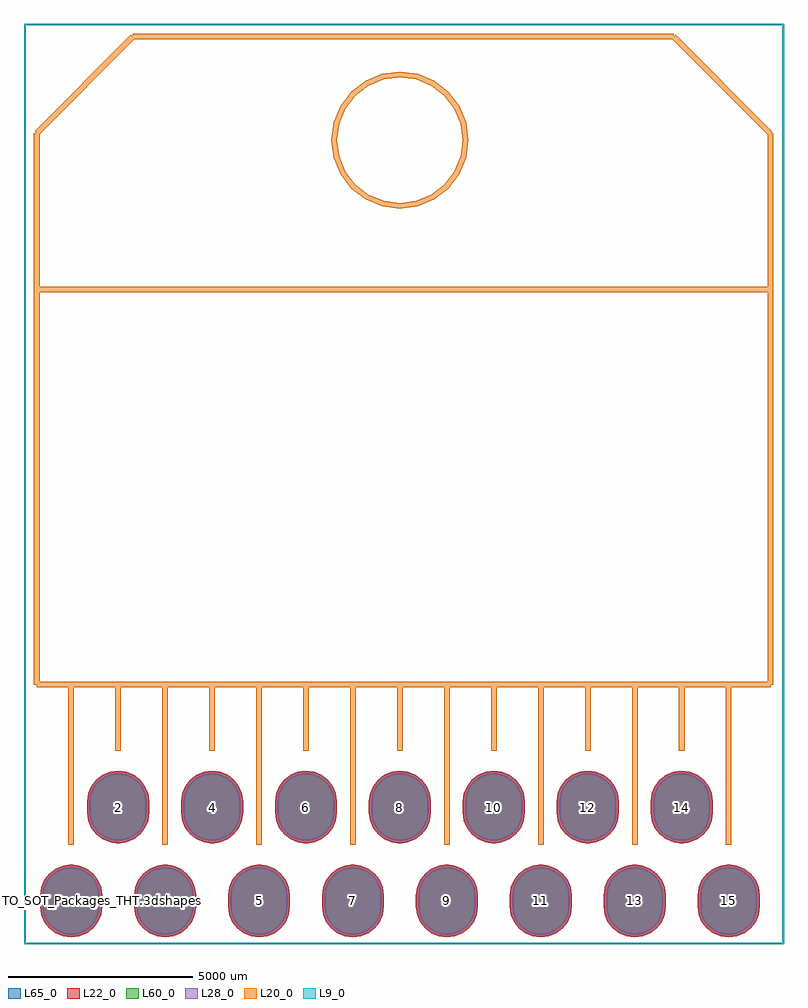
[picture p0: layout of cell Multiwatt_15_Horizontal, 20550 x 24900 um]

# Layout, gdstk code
import gdstk
lib = gdstk.Library(unit=1e-6, precision=1e-09)
def P(c, l, *ps):  # polygons
    for p in ps: c.add(gdstk.Polygon(p, *l))
L9_0 = (9, 0)
L20_0 = (20, 0)
L22_0 = (22, 0)
L28_0 = (28, 0)
L60_0 = (60, 0)
L65_0 = (65, 0)

multiwatt_15_horizontal = lib.new_cell('Multiwatt_15_Horizontal')
P(multiwatt_15_horizontal, L22_0, [(17780,-987),(17996.632,-958.48),(18198.5,-874.863),(18371.848,-741.848),(18504.863,-568.5),(18588.48,-366.632),(18617,-150),(18617,150),(18588.48,366.632),(18504.863,568.5),(18371.848,741.848),(18198.5,874.863),(17996.632,958.48),(17780,987),(17563.368,958.48),(17361.5,874.863),(17188.152,741.848),(17055.137,568.5),(16971.52,366.632),(16943,150),(16943,-150),(16971.52,-366.632),(17055.137,-568.5),(17188.152,-741.848),(17361.5,-874.863),(17563.368,-958.48)],
  [(16510,1553),(16726.632,1581.52),(16928.5,1665.137),(17101.848,1798.152),(17234.863,1971.5),(17318.48,2173.368),(17347,2390),(17347,2690),(17318.48,2906.632),(17234.863,3108.5),(17101.848,3281.848),(16928.5,3414.863),(16726.632,3498.48),(16510,3527),(16293.368,3498.48),(16091.5,3414.863),(15918.152,3281.848),(15785.137,3108.5),(15701.52,2906.632),(15673,2690),(15673,2390),(15701.52,2173.368),(15785.137,1971.5),(15918.152,1798.152),(16091.5,1665.137),(16293.368,1581.52)],
  [(15240,-987),(15456.632,-958.48),(15658.5,-874.863),(15831.848,-741.848),(15964.863,-568.5),(16048.48,-366.632),(16077,-150),(16077,150),(16048.48,366.632),(15964.863,568.5),(15831.848,741.848),(15658.5,874.863),(15456.632,958.48),(15240,987),(15023.368,958.48),(14821.5,874.863),(14648.152,741.848),(14515.137,568.5),(14431.52,366.632),(14403,150),(14403,-150),(14431.52,-366.632),(14515.137,-568.5),(14648.152,-741.848),(14821.5,-874.863),(15023.368,-958.48)],
  [(13970,1553),(14186.632,1581.52),(14388.5,1665.137),(14561.848,1798.152),(14694.863,1971.5),(14778.48,2173.368),(14807,2390),(14807,2690),(14778.48,2906.632),(14694.863,3108.5),(14561.848,3281.848),(14388.5,3414.863),(14186.632,3498.48),(13970,3527),(13753.368,3498.48),(13551.5,3414.863),(13378.152,3281.848),(13245.137,3108.5),(13161.52,2906.632),(13133,2690),(13133,2390),(13161.52,2173.368),(13245.137,1971.5),(13378.152,1798.152),(13551.5,1665.137),(13753.368,1581.52)],
  [(12700,-987),(12916.632,-958.48),(13118.5,-874.863),(13291.848,-741.848),(13424.863,-568.5),(13508.48,-366.632),(13537,-150),(13537,150),(13508.48,366.632),(13424.863,568.5),(13291.848,741.848),(13118.5,874.863),(12916.632,958.48),(12700,987),(12483.368,958.48),(12281.5,874.863),(12108.152,741.848),(11975.137,568.5),(11891.52,366.632),(11863,150),(11863,-150),(11891.52,-366.632),(11975.137,-568.5),(12108.152,-741.848),(12281.5,-874.863),(12483.368,-958.48)],
  [(11430,1553),(11646.632,1581.52),(11848.5,1665.137),(12021.848,1798.152),(12154.863,1971.5),(12238.48,2173.368),(12267,2390),(12267,2690),(12238.48,2906.632),(12154.863,3108.5),(12021.848,3281.848),(11848.5,3414.863),(11646.632,3498.48),(11430,3527),(11213.368,3498.48),(11011.5,3414.863),(10838.152,3281.848),(10705.137,3108.5),(10621.52,2906.632),(10593,2690),(10593,2390),(10621.52,2173.368),(10705.137,1971.5),(10838.152,1798.152),(11011.5,1665.137),(11213.368,1581.52)],
  [(10160,-987),(10376.632,-958.48),(10578.5,-874.863),(10751.848,-741.848),(10884.863,-568.5),(10968.48,-366.632),(10997,-150),(10997,150),(10968.48,366.632),(10884.863,568.5),(10751.848,741.848),(10578.5,874.863),(10376.632,958.48),(10160,987),(9943.368,958.48),(9741.5,874.863),(9568.152,741.848),(9435.137,568.5),(9351.52,366.632),(9323,150),(9323,-150),(9351.52,-366.632),(9435.137,-568.5),(9568.152,-741.848),(9741.5,-874.863),(9943.368,-958.48)],
  [(8890,1553),(9106.632,1581.52),(9308.5,1665.137),(9481.848,1798.152),(9614.863,1971.5),(9698.48,2173.368),(9727,2390),(9727,2690),(9698.48,2906.632),(9614.863,3108.5),(9481.848,3281.848),(9308.5,3414.863),(9106.632,3498.48),(8890,3527),(8673.368,3498.48),(8471.5,3414.863),(8298.152,3281.848),(8165.137,3108.5),(8081.52,2906.632),(8053,2690),(8053,2390),(8081.52,2173.368),(8165.137,1971.5),(8298.152,1798.152),(8471.5,1665.137),(8673.368,1581.52)],
  [(7620,-987),(7836.632,-958.48),(8038.5,-874.863),(8211.848,-741.848),(8344.863,-568.5),(8428.48,-366.632),(8457,-150),(8457,150),(8428.48,366.632),(8344.863,568.5),(8211.848,741.848),(8038.5,874.863),(7836.632,958.48),(7620,987),(7403.368,958.48),(7201.5,874.863),(7028.152,741.848),(6895.137,568.5),(6811.52,366.632),(6783,150),(6783,-150),(6811.52,-366.632),(6895.137,-568.5),(7028.152,-741.848),(7201.5,-874.863),(7403.368,-958.48)],
  [(6350,1553),(6566.632,1581.52),(6768.5,1665.137),(6941.848,1798.152),(7074.863,1971.5),(7158.48,2173.368),(7187,2390),(7187,2690),(7158.48,2906.632),(7074.863,3108.5),(6941.848,3281.848),(6768.5,3414.863),(6566.632,3498.48),(6350,3527),(6133.368,3498.48),(5931.5,3414.863),(5758.152,3281.848),(5625.137,3108.5),(5541.52,2906.632),(5513,2690),(5513,2390),(5541.52,2173.368),(5625.137,1971.5),(5758.152,1798.152),(5931.5,1665.137),(6133.368,1581.52)],
  [(5080,-987),(5296.632,-958.48),(5498.5,-874.863),(5671.848,-741.848),(5804.863,-568.5),(5888.48,-366.632),(5917,-150),(5917,150),(5888.48,366.632),(5804.863,568.5),(5671.848,741.848),(5498.5,874.863),(5296.632,958.48),(5080,987),(4863.368,958.48),(4661.5,874.863),(4488.152,741.848),(4355.137,568.5),(4271.52,366.632),(4243,150),(4243,-150),(4271.52,-366.632),(4355.137,-568.5),(4488.152,-741.848),(4661.5,-874.863),(4863.368,-958.48)],
  [(3810,1553),(4026.632,1581.52),(4228.5,1665.137),(4401.848,1798.152),(4534.863,1971.5),(4618.48,2173.368),(4647,2390),(4647,2690),(4618.48,2906.632),(4534.863,3108.5),(4401.848,3281.848),(4228.5,3414.863),(4026.632,3498.48),(3810,3527),(3593.368,3498.48),(3391.5,3414.863),(3218.152,3281.848),(3085.137,3108.5),(3001.52,2906.632),(2973,2690),(2973,2390),(3001.52,2173.368),(3085.137,1971.5),(3218.152,1798.152),(3391.5,1665.137),(3593.368,1581.52)],
  [(2540,-987),(2756.632,-958.48),(2958.5,-874.863),(3131.848,-741.848),(3264.863,-568.5),(3348.48,-366.632),(3377,-150),(3377,150),(3348.48,366.632),(3264.863,568.5),(3131.848,741.848),(2958.5,874.863),(2756.632,958.48),(2540,987),(2323.368,958.48),(2121.5,874.863),(1948.152,741.848),(1815.137,568.5),(1731.52,366.632),(1703,150),(1703,-150),(1731.52,-366.632),(1815.137,-568.5),(1948.152,-741.848),(2121.5,-874.863),(2323.368,-958.48)],
  [(1270,1553),(1486.632,1581.52),(1688.5,1665.137),(1861.848,1798.152),(1994.863,1971.5),(2078.48,2173.368),(2107,2390),(2107,2690),(2078.48,2906.632),(1994.863,3108.5),(1861.848,3281.848),(1688.5,3414.863),(1486.632,3498.48),(1270,3527),(1053.368,3498.48),(851.5,3414.863),(678.152,3281.848),(545.137,3108.5),(461.52,2906.632),(433,2690),(433,2390),(461.52,2173.368),(545.137,1971.5),(678.152,1798.152),(851.5,1665.137),(1053.368,1581.52)],
  [(0,-987),(216.632,-958.48),(418.5,-874.863),(591.848,-741.848),(724.863,-568.5),(808.48,-366.632),(837,-150),(837,150),(808.48,366.632),(724.863,568.5),(591.848,741.848),(418.5,874.863),(216.632,958.48),(0,987),(-216.632,958.48),(-418.5,874.863),(-591.848,741.848),(-724.863,568.5),(-808.48,366.632),(-837,150),(-837,-150),(-808.48,-366.632),(-724.863,-568.5),(-591.848,-741.848),(-418.5,-874.863),(-216.632,-958.48)])
P(multiwatt_15_horizontal, L28_0, [(17780,-912),(17977.22,-886.035),(18161,-809.911),(18318.815,-688.815),(18439.911,-531),(18516.035,-347.22),(18542,-150),(18542,150),(18516.035,347.22),(18439.911,531),(18318.815,688.815),(18161,809.911),(17977.22,886.035),(17780,912),(17582.78,886.035),(17399,809.911),(17241.185,688.815),(17120.089,531),(17043.965,347.22),(17018,150),(17018,-150),(17043.965,-347.22),(17120.089,-531),(17241.185,-688.815),(17399,-809.911),(17582.78,-886.035)],
  [(16510,1628),(16707.22,1653.965),(16891,1730.089),(17048.815,1851.185),(17169.911,2009),(17246.035,2192.78),(17272,2390),(17272,2690),(17246.035,2887.22),(17169.911,3071),(17048.815,3228.815),(16891,3349.911),(16707.22,3426.035),(16510,3452),(16312.78,3426.035),(16129,3349.911),(15971.185,3228.815),(15850.089,3071),(15773.965,2887.22),(15748,2690),(15748,2390),(15773.965,2192.78),(15850.089,2009),(15971.185,1851.185),(16129,1730.089),(16312.78,1653.965)],
  [(15240,-912),(15437.22,-886.035),(15621,-809.911),(15778.815,-688.815),(15899.911,-531),(15976.035,-347.22),(16002,-150),(16002,150),(15976.035,347.22),(15899.911,531),(15778.815,688.815),(15621,809.911),(15437.22,886.035),(15240,912),(15042.78,886.035),(14859,809.911),(14701.185,688.815),(14580.089,531),(14503.965,347.22),(14478,150),(14478,-150),(14503.965,-347.22),(14580.089,-531),(14701.185,-688.815),(14859,-809.911),(15042.78,-886.035)],
  [(13970,1628),(14167.22,1653.965),(14351,1730.089),(14508.815,1851.185),(14629.911,2009),(14706.035,2192.78),(14732,2390),(14732,2690),(14706.035,2887.22),(14629.911,3071),(14508.815,3228.815),(14351,3349.911),(14167.22,3426.035),(13970,3452),(13772.78,3426.035),(13589,3349.911),(13431.185,3228.815),(13310.089,3071),(13233.965,2887.22),(13208,2690),(13208,2390),(13233.965,2192.78),(13310.089,2009),(13431.185,1851.185),(13589,1730.089),(13772.78,1653.965)],
  [(12700,-912),(12897.22,-886.035),(13081,-809.911),(13238.815,-688.815),(13359.911,-531),(13436.035,-347.22),(13462,-150),(13462,150),(13436.035,347.22),(13359.911,531),(13238.815,688.815),(13081,809.911),(12897.22,886.035),(12700,912),(12502.78,886.035),(12319,809.911),(12161.185,688.815),(12040.089,531),(11963.965,347.22),(11938,150),(11938,-150),(11963.965,-347.22),(12040.089,-531),(12161.185,-688.815),(12319,-809.911),(12502.78,-886.035)],
  [(11430,1628),(11627.22,1653.965),(11811,1730.089),(11968.815,1851.185),(12089.911,2009),(12166.035,2192.78),(12192,2390),(12192,2690),(12166.035,2887.22),(12089.911,3071),(11968.815,3228.815),(11811,3349.911),(11627.22,3426.035),(11430,3452),(11232.78,3426.035),(11049,3349.911),(10891.185,3228.815),(10770.089,3071),(10693.965,2887.22),(10668,2690),(10668,2390),(10693.965,2192.78),(10770.089,2009),(10891.185,1851.185),(11049,1730.089),(11232.78,1653.965)],
  [(10160,-912),(10357.22,-886.035),(10541,-809.911),(10698.815,-688.815),(10819.911,-531),(10896.035,-347.22),(10922,-150),(10922,150),(10896.035,347.22),(10819.911,531),(10698.815,688.815),(10541,809.911),(10357.22,886.035),(10160,912),(9962.78,886.035),(9779,809.911),(9621.185,688.815),(9500.089,531),(9423.965,347.22),(9398,150),(9398,-150),(9423.965,-347.22),(9500.089,-531),(9621.185,-688.815),(9779,-809.911),(9962.78,-886.035)],
  [(8890,1628),(9087.22,1653.965),(9271,1730.089),(9428.815,1851.185),(9549.911,2009),(9626.035,2192.78),(9652,2390),(9652,2690),(9626.035,2887.22),(9549.911,3071),(9428.815,3228.815),(9271,3349.911),(9087.22,3426.035),(8890,3452),(8692.78,3426.035),(8509,3349.911),(8351.185,3228.815),(8230.089,3071),(8153.965,2887.22),(8128,2690),(8128,2390),(8153.965,2192.78),(8230.089,2009),(8351.185,1851.185),(8509,1730.089),(8692.78,1653.965)],
  [(7620,-912),(7817.22,-886.035),(8001,-809.911),(8158.815,-688.815),(8279.911,-531),(8356.035,-347.22),(8382,-150),(8382,150),(8356.035,347.22),(8279.911,531),(8158.815,688.815),(8001,809.911),(7817.22,886.035),(7620,912),(7422.78,886.035),(7239,809.911),(7081.185,688.815),(6960.089,531),(6883.965,347.22),(6858,150),(6858,-150),(6883.965,-347.22),(6960.089,-531),(7081.185,-688.815),(7239,-809.911),(7422.78,-886.035)],
  [(6350,1628),(6547.22,1653.965),(6731,1730.089),(6888.815,1851.185),(7009.911,2009),(7086.035,2192.78),(7112,2390),(7112,2690),(7086.035,2887.22),(7009.911,3071),(6888.815,3228.815),(6731,3349.911),(6547.22,3426.035),(6350,3452),(6152.78,3426.035),(5969,3349.911),(5811.185,3228.815),(5690.089,3071),(5613.965,2887.22),(5588,2690),(5588,2390),(5613.965,2192.78),(5690.089,2009),(5811.185,1851.185),(5969,1730.089),(6152.78,1653.965)],
  [(5080,-912),(5277.22,-886.035),(5461,-809.911),(5618.815,-688.815),(5739.911,-531),(5816.035,-347.22),(5842,-150),(5842,150),(5816.035,347.22),(5739.911,531),(5618.815,688.815),(5461,809.911),(5277.22,886.035),(5080,912),(4882.78,886.035),(4699,809.911),(4541.185,688.815),(4420.089,531),(4343.965,347.22),(4318,150),(4318,-150),(4343.965,-347.22),(4420.089,-531),(4541.185,-688.815),(4699,-809.911),(4882.78,-886.035)],
  [(3810,1628),(4007.22,1653.965),(4191,1730.089),(4348.815,1851.185),(4469.911,2009),(4546.035,2192.78),(4572,2390),(4572,2690),(4546.035,2887.22),(4469.911,3071),(4348.815,3228.815),(4191,3349.911),(4007.22,3426.035),(3810,3452),(3612.78,3426.035),(3429,3349.911),(3271.185,3228.815),(3150.089,3071),(3073.965,2887.22),(3048,2690),(3048,2390),(3073.965,2192.78),(3150.089,2009),(3271.185,1851.185),(3429,1730.089),(3612.78,1653.965)],
  [(2540,-912),(2737.22,-886.035),(2921,-809.911),(3078.815,-688.815),(3199.911,-531),(3276.035,-347.22),(3302,-150),(3302,150),(3276.035,347.22),(3199.911,531),(3078.815,688.815),(2921,809.911),(2737.22,886.035),(2540,912),(2342.78,886.035),(2159,809.911),(2001.185,688.815),(1880.089,531),(1803.965,347.22),(1778,150),(1778,-150),(1803.965,-347.22),(1880.089,-531),(2001.185,-688.815),(2159,-809.911),(2342.78,-886.035)],
  [(1270,1628),(1467.22,1653.965),(1651,1730.089),(1808.815,1851.185),(1929.911,2009),(2006.035,2192.78),(2032,2390),(2032,2690),(2006.035,2887.22),(1929.911,3071),(1808.815,3228.815),(1651,3349.911),(1467.22,3426.035),(1270,3452),(1072.78,3426.035),(889,3349.911),(731.185,3228.815),(610.089,3071),(533.965,2887.22),(508,2690),(508,2390),(533.965,2192.78),(610.089,2009),(731.185,1851.185),(889,1730.089),(1072.78,1653.965)],
  [(0,-912),(197.22,-886.035),(381,-809.911),(538.815,-688.815),(659.911,-531),(736.035,-347.22),(762,-150),(762,150),(736.035,347.22),(659.911,531),(538.815,688.815),(381,809.911),(197.22,886.035),(0,912),(-197.22,886.035),(-381,809.911),(-538.815,688.815),(-659.911,531),(-736.035,347.22),(-762,150),(-762,-150),(-736.035,-347.22),(-659.911,-531),(-538.815,-688.815),(-381,-809.911),(-197.22,-886.035)])
P(multiwatt_15_horizontal, L60_0, [(17780,-912),(17977.22,-886.035),(18161,-809.911),(18318.815,-688.815),(18439.911,-531),(18516.035,-347.22),(18542,-150),(18542,150),(18516.035,347.22),(18439.911,531),(18318.815,688.815),(18161,809.911),(17977.22,886.035),(17780,912),(17582.78,886.035),(17399,809.911),(17241.185,688.815),(17120.089,531),(17043.965,347.22),(17018,150),(17018,-150),(17043.965,-347.22),(17120.089,-531),(17241.185,-688.815),(17399,-809.911),(17582.78,-886.035)],
  [(16510,1628),(16707.22,1653.965),(16891,1730.089),(17048.815,1851.185),(17169.911,2009),(17246.035,2192.78),(17272,2390),(17272,2690),(17246.035,2887.22),(17169.911,3071),(17048.815,3228.815),(16891,3349.911),(16707.22,3426.035),(16510,3452),(16312.78,3426.035),(16129,3349.911),(15971.185,3228.815),(15850.089,3071),(15773.965,2887.22),(15748,2690),(15748,2390),(15773.965,2192.78),(15850.089,2009),(15971.185,1851.185),(16129,1730.089),(16312.78,1653.965)],
  [(15240,-912),(15437.22,-886.035),(15621,-809.911),(15778.815,-688.815),(15899.911,-531),(15976.035,-347.22),(16002,-150),(16002,150),(15976.035,347.22),(15899.911,531),(15778.815,688.815),(15621,809.911),(15437.22,886.035),(15240,912),(15042.78,886.035),(14859,809.911),(14701.185,688.815),(14580.089,531),(14503.965,347.22),(14478,150),(14478,-150),(14503.965,-347.22),(14580.089,-531),(14701.185,-688.815),(14859,-809.911),(15042.78,-886.035)],
  [(13970,1628),(14167.22,1653.965),(14351,1730.089),(14508.815,1851.185),(14629.911,2009),(14706.035,2192.78),(14732,2390),(14732,2690),(14706.035,2887.22),(14629.911,3071),(14508.815,3228.815),(14351,3349.911),(14167.22,3426.035),(13970,3452),(13772.78,3426.035),(13589,3349.911),(13431.185,3228.815),(13310.089,3071),(13233.965,2887.22),(13208,2690),(13208,2390),(13233.965,2192.78),(13310.089,2009),(13431.185,1851.185),(13589,1730.089),(13772.78,1653.965)],
  [(12700,-912),(12897.22,-886.035),(13081,-809.911),(13238.815,-688.815),(13359.911,-531),(13436.035,-347.22),(13462,-150),(13462,150),(13436.035,347.22),(13359.911,531),(13238.815,688.815),(13081,809.911),(12897.22,886.035),(12700,912),(12502.78,886.035),(12319,809.911),(12161.185,688.815),(12040.089,531),(11963.965,347.22),(11938,150),(11938,-150),(11963.965,-347.22),(12040.089,-531),(12161.185,-688.815),(12319,-809.911),(12502.78,-886.035)],
  [(11430,1628),(11627.22,1653.965),(11811,1730.089),(11968.815,1851.185),(12089.911,2009),(12166.035,2192.78),(12192,2390),(12192,2690),(12166.035,2887.22),(12089.911,3071),(11968.815,3228.815),(11811,3349.911),(11627.22,3426.035),(11430,3452),(11232.78,3426.035),(11049,3349.911),(10891.185,3228.815),(10770.089,3071),(10693.965,2887.22),(10668,2690),(10668,2390),(10693.965,2192.78),(10770.089,2009),(10891.185,1851.185),(11049,1730.089),(11232.78,1653.965)],
  [(10160,-912),(10357.22,-886.035),(10541,-809.911),(10698.815,-688.815),(10819.911,-531),(10896.035,-347.22),(10922,-150),(10922,150),(10896.035,347.22),(10819.911,531),(10698.815,688.815),(10541,809.911),(10357.22,886.035),(10160,912),(9962.78,886.035),(9779,809.911),(9621.185,688.815),(9500.089,531),(9423.965,347.22),(9398,150),(9398,-150),(9423.965,-347.22),(9500.089,-531),(9621.185,-688.815),(9779,-809.911),(9962.78,-886.035)],
  [(8890,1628),(9087.22,1653.965),(9271,1730.089),(9428.815,1851.185),(9549.911,2009),(9626.035,2192.78),(9652,2390),(9652,2690),(9626.035,2887.22),(9549.911,3071),(9428.815,3228.815),(9271,3349.911),(9087.22,3426.035),(8890,3452),(8692.78,3426.035),(8509,3349.911),(8351.185,3228.815),(8230.089,3071),(8153.965,2887.22),(8128,2690),(8128,2390),(8153.965,2192.78),(8230.089,2009),(8351.185,1851.185),(8509,1730.089),(8692.78,1653.965)],
  [(7620,-912),(7817.22,-886.035),(8001,-809.911),(8158.815,-688.815),(8279.911,-531),(8356.035,-347.22),(8382,-150),(8382,150),(8356.035,347.22),(8279.911,531),(8158.815,688.815),(8001,809.911),(7817.22,886.035),(7620,912),(7422.78,886.035),(7239,809.911),(7081.185,688.815),(6960.089,531),(6883.965,347.22),(6858,150),(6858,-150),(6883.965,-347.22),(6960.089,-531),(7081.185,-688.815),(7239,-809.911),(7422.78,-886.035)],
  [(6350,1628),(6547.22,1653.965),(6731,1730.089),(6888.815,1851.185),(7009.911,2009),(7086.035,2192.78),(7112,2390),(7112,2690),(7086.035,2887.22),(7009.911,3071),(6888.815,3228.815),(6731,3349.911),(6547.22,3426.035),(6350,3452),(6152.78,3426.035),(5969,3349.911),(5811.185,3228.815),(5690.089,3071),(5613.965,2887.22),(5588,2690),(5588,2390),(5613.965,2192.78),(5690.089,2009),(5811.185,1851.185),(5969,1730.089),(6152.78,1653.965)],
  [(5080,-912),(5277.22,-886.035),(5461,-809.911),(5618.815,-688.815),(5739.911,-531),(5816.035,-347.22),(5842,-150),(5842,150),(5816.035,347.22),(5739.911,531),(5618.815,688.815),(5461,809.911),(5277.22,886.035),(5080,912),(4882.78,886.035),(4699,809.911),(4541.185,688.815),(4420.089,531),(4343.965,347.22),(4318,150),(4318,-150),(4343.965,-347.22),(4420.089,-531),(4541.185,-688.815),(4699,-809.911),(4882.78,-886.035)],
  [(3810,1628),(4007.22,1653.965),(4191,1730.089),(4348.815,1851.185),(4469.911,2009),(4546.035,2192.78),(4572,2390),(4572,2690),(4546.035,2887.22),(4469.911,3071),(4348.815,3228.815),(4191,3349.911),(4007.22,3426.035),(3810,3452),(3612.78,3426.035),(3429,3349.911),(3271.185,3228.815),(3150.089,3071),(3073.965,2887.22),(3048,2690),(3048,2390),(3073.965,2192.78),(3150.089,2009),(3271.185,1851.185),(3429,1730.089),(3612.78,1653.965)],
  [(2540,-912),(2737.22,-886.035),(2921,-809.911),(3078.815,-688.815),(3199.911,-531),(3276.035,-347.22),(3302,-150),(3302,150),(3276.035,347.22),(3199.911,531),(3078.815,688.815),(2921,809.911),(2737.22,886.035),(2540,912),(2342.78,886.035),(2159,809.911),(2001.185,688.815),(1880.089,531),(1803.965,347.22),(1778,150),(1778,-150),(1803.965,-347.22),(1880.089,-531),(2001.185,-688.815),(2159,-809.911),(2342.78,-886.035)],
  [(1270,1628),(1467.22,1653.965),(1651,1730.089),(1808.815,1851.185),(1929.911,2009),(2006.035,2192.78),(2032,2390),(2032,2690),(2006.035,2887.22),(1929.911,3071),(1808.815,3228.815),(1651,3349.911),(1467.22,3426.035),(1270,3452),(1072.78,3426.035),(889,3349.911),(731.185,3228.815),(610.089,3071),(533.965,2887.22),(508,2690),(508,2390),(533.965,2192.78),(610.089,2009),(731.185,1851.185),(889,1730.089),(1072.78,1653.965)],
  [(0,-912),(197.22,-886.035),(381,-809.911),(538.815,-688.815),(659.911,-531),(736.035,-347.22),(762,-150),(762,150),(736.035,347.22),(659.911,531),(538.815,688.815),(381,809.911),(197.22,886.035),(0,912),(-197.22,886.035),(-381,809.911),(-538.815,688.815),(-659.911,531),(-736.035,347.22),(-762,150),(-762,-150),(-736.035,-347.22),(-659.911,-531),(-538.815,-688.815),(-381,-809.911),(-197.22,-886.035)])
P(multiwatt_15_horizontal, L65_0, [(17780,-987),(17996.632,-958.48),(18198.5,-874.863),(18371.848,-741.848),(18504.863,-568.5),(18588.48,-366.632),(18617,-150),(18617,150),(18588.48,366.632),(18504.863,568.5),(18371.848,741.848),(18198.5,874.863),(17996.632,958.48),(17780,987),(17563.368,958.48),(17361.5,874.863),(17188.152,741.848),(17055.137,568.5),(16971.52,366.632),(16943,150),(16943,-150),(16971.52,-366.632),(17055.137,-568.5),(17188.152,-741.848),(17361.5,-874.863),(17563.368,-958.48)],
  [(16510,1553),(16726.632,1581.52),(16928.5,1665.137),(17101.848,1798.152),(17234.863,1971.5),(17318.48,2173.368),(17347,2390),(17347,2690),(17318.48,2906.632),(17234.863,3108.5),(17101.848,3281.848),(16928.5,3414.863),(16726.632,3498.48),(16510,3527),(16293.368,3498.48),(16091.5,3414.863),(15918.152,3281.848),(15785.137,3108.5),(15701.52,2906.632),(15673,2690),(15673,2390),(15701.52,2173.368),(15785.137,1971.5),(15918.152,1798.152),(16091.5,1665.137),(16293.368,1581.52)],
  [(15240,-987),(15456.632,-958.48),(15658.5,-874.863),(15831.848,-741.848),(15964.863,-568.5),(16048.48,-366.632),(16077,-150),(16077,150),(16048.48,366.632),(15964.863,568.5),(15831.848,741.848),(15658.5,874.863),(15456.632,958.48),(15240,987),(15023.368,958.48),(14821.5,874.863),(14648.152,741.848),(14515.137,568.5),(14431.52,366.632),(14403,150),(14403,-150),(14431.52,-366.632),(14515.137,-568.5),(14648.152,-741.848),(14821.5,-874.863),(15023.368,-958.48)],
  [(13970,1553),(14186.632,1581.52),(14388.5,1665.137),(14561.848,1798.152),(14694.863,1971.5),(14778.48,2173.368),(14807,2390),(14807,2690),(14778.48,2906.632),(14694.863,3108.5),(14561.848,3281.848),(14388.5,3414.863),(14186.632,3498.48),(13970,3527),(13753.368,3498.48),(13551.5,3414.863),(13378.152,3281.848),(13245.137,3108.5),(13161.52,2906.632),(13133,2690),(13133,2390),(13161.52,2173.368),(13245.137,1971.5),(13378.152,1798.152),(13551.5,1665.137),(13753.368,1581.52)],
  [(12700,-987),(12916.632,-958.48),(13118.5,-874.863),(13291.848,-741.848),(13424.863,-568.5),(13508.48,-366.632),(13537,-150),(13537,150),(13508.48,366.632),(13424.863,568.5),(13291.848,741.848),(13118.5,874.863),(12916.632,958.48),(12700,987),(12483.368,958.48),(12281.5,874.863),(12108.152,741.848),(11975.137,568.5),(11891.52,366.632),(11863,150),(11863,-150),(11891.52,-366.632),(11975.137,-568.5),(12108.152,-741.848),(12281.5,-874.863),(12483.368,-958.48)],
  [(11430,1553),(11646.632,1581.52),(11848.5,1665.137),(12021.848,1798.152),(12154.863,1971.5),(12238.48,2173.368),(12267,2390),(12267,2690),(12238.48,2906.632),(12154.863,3108.5),(12021.848,3281.848),(11848.5,3414.863),(11646.632,3498.48),(11430,3527),(11213.368,3498.48),(11011.5,3414.863),(10838.152,3281.848),(10705.137,3108.5),(10621.52,2906.632),(10593,2690),(10593,2390),(10621.52,2173.368),(10705.137,1971.5),(10838.152,1798.152),(11011.5,1665.137),(11213.368,1581.52)],
  [(10160,-987),(10376.632,-958.48),(10578.5,-874.863),(10751.848,-741.848),(10884.863,-568.5),(10968.48,-366.632),(10997,-150),(10997,150),(10968.48,366.632),(10884.863,568.5),(10751.848,741.848),(10578.5,874.863),(10376.632,958.48),(10160,987),(9943.368,958.48),(9741.5,874.863),(9568.152,741.848),(9435.137,568.5),(9351.52,366.632),(9323,150),(9323,-150),(9351.52,-366.632),(9435.137,-568.5),(9568.152,-741.848),(9741.5,-874.863),(9943.368,-958.48)],
  [(8890,1553),(9106.632,1581.52),(9308.5,1665.137),(9481.848,1798.152),(9614.863,1971.5),(9698.48,2173.368),(9727,2390),(9727,2690),(9698.48,2906.632),(9614.863,3108.5),(9481.848,3281.848),(9308.5,3414.863),(9106.632,3498.48),(8890,3527),(8673.368,3498.48),(8471.5,3414.863),(8298.152,3281.848),(8165.137,3108.5),(8081.52,2906.632),(8053,2690),(8053,2390),(8081.52,2173.368),(8165.137,1971.5),(8298.152,1798.152),(8471.5,1665.137),(8673.368,1581.52)],
  [(7620,-987),(7836.632,-958.48),(8038.5,-874.863),(8211.848,-741.848),(8344.863,-568.5),(8428.48,-366.632),(8457,-150),(8457,150),(8428.48,366.632),(8344.863,568.5),(8211.848,741.848),(8038.5,874.863),(7836.632,958.48),(7620,987),(7403.368,958.48),(7201.5,874.863),(7028.152,741.848),(6895.137,568.5),(6811.52,366.632),(6783,150),(6783,-150),(6811.52,-366.632),(6895.137,-568.5),(7028.152,-741.848),(7201.5,-874.863),(7403.368,-958.48)],
  [(6350,1553),(6566.632,1581.52),(6768.5,1665.137),(6941.848,1798.152),(7074.863,1971.5),(7158.48,2173.368),(7187,2390),(7187,2690),(7158.48,2906.632),(7074.863,3108.5),(6941.848,3281.848),(6768.5,3414.863),(6566.632,3498.48),(6350,3527),(6133.368,3498.48),(5931.5,3414.863),(5758.152,3281.848),(5625.137,3108.5),(5541.52,2906.632),(5513,2690),(5513,2390),(5541.52,2173.368),(5625.137,1971.5),(5758.152,1798.152),(5931.5,1665.137),(6133.368,1581.52)],
  [(5080,-987),(5296.632,-958.48),(5498.5,-874.863),(5671.848,-741.848),(5804.863,-568.5),(5888.48,-366.632),(5917,-150),(5917,150),(5888.48,366.632),(5804.863,568.5),(5671.848,741.848),(5498.5,874.863),(5296.632,958.48),(5080,987),(4863.368,958.48),(4661.5,874.863),(4488.152,741.848),(4355.137,568.5),(4271.52,366.632),(4243,150),(4243,-150),(4271.52,-366.632),(4355.137,-568.5),(4488.152,-741.848),(4661.5,-874.863),(4863.368,-958.48)],
  [(3810,1553),(4026.632,1581.52),(4228.5,1665.137),(4401.848,1798.152),(4534.863,1971.5),(4618.48,2173.368),(4647,2390),(4647,2690),(4618.48,2906.632),(4534.863,3108.5),(4401.848,3281.848),(4228.5,3414.863),(4026.632,3498.48),(3810,3527),(3593.368,3498.48),(3391.5,3414.863),(3218.152,3281.848),(3085.137,3108.5),(3001.52,2906.632),(2973,2690),(2973,2390),(3001.52,2173.368),(3085.137,1971.5),(3218.152,1798.152),(3391.5,1665.137),(3593.368,1581.52)],
  [(2540,-987),(2756.632,-958.48),(2958.5,-874.863),(3131.848,-741.848),(3264.863,-568.5),(3348.48,-366.632),(3377,-150),(3377,150),(3348.48,366.632),(3264.863,568.5),(3131.848,741.848),(2958.5,874.863),(2756.632,958.48),(2540,987),(2323.368,958.48),(2121.5,874.863),(1948.152,741.848),(1815.137,568.5),(1731.52,366.632),(1703,150),(1703,-150),(1731.52,-366.632),(1815.137,-568.5),(1948.152,-741.848),(2121.5,-874.863),(2323.368,-958.48)],
  [(1270,1553),(1486.632,1581.52),(1688.5,1665.137),(1861.848,1798.152),(1994.863,1971.5),(2078.48,2173.368),(2107,2390),(2107,2690),(2078.48,2906.632),(1994.863,3108.5),(1861.848,3281.848),(1688.5,3414.863),(1486.632,3498.48),(1270,3527),(1053.368,3498.48),(851.5,3414.863),(678.152,3281.848),(545.137,3108.5),(461.52,2906.632),(433,2690),(433,2390),(461.52,2173.368),(545.137,1971.5),(678.152,1798.152),(851.5,1665.137),(1053.368,1581.52)],
  [(0,-987),(216.632,-958.48),(418.5,-874.863),(591.848,-741.848),(724.863,-568.5),(808.48,-366.632),(837,-150),(837,150),(808.48,366.632),(724.863,568.5),(591.848,741.848),(418.5,874.863),(216.632,958.48),(0,987),(-216.632,958.48),(-418.5,874.863),(-591.848,741.848),(-724.863,568.5),(-808.48,366.632),(-837,150),(-837,-150),(-808.48,-366.632),(-724.863,-568.5),(-591.848,-741.848),(-418.5,-874.863),(-216.632,-958.48)])
multiwatt_15_horizontal.add(gdstk.FlexPath([(8890,22352),(8429.82,22291.416),(8001,22113.793),(7632.764,21831.236),(7350.207,21463),(7172.584,21034.18),(7112,20574),(7172.584,20113.82),(7350.207,19685),(7632.764,19316.764),(8001,19034.207),(8429.82,18856.584),(8890,18796),(9350.18,18856.584),(9779,19034.207),(10147.236,19316.764),(10429.793,19685),(10607.416,20113.82),(10668,20574),(10607.416,21034.18),(10429.793,21463),(10147.236,21831.236),(9779,22113.793),(9350.18,22291.416),(8890,22352)], 149.998, ends="flush", simple_path=True, layer=20, datatype=0))  # L20_0
multiwatt_15_horizontal.add(gdstk.FlexPath([(1270,4064),(1270,5842)], 149.998, ends="flush", simple_path=True, layer=20, datatype=0))  # L20_0
multiwatt_15_horizontal.add(gdstk.FlexPath([(3810,4064),(3810,5842)], 149.998, ends="flush", simple_path=True, layer=20, datatype=0))  # L20_0
multiwatt_15_horizontal.add(gdstk.FlexPath([(6350,4064),(6350,5842)], 149.998, ends="flush", simple_path=True, layer=20, datatype=0))  # L20_0
multiwatt_15_horizontal.add(gdstk.FlexPath([(8890,4064),(8890,5842)], 149.998, ends="flush", simple_path=True, layer=20, datatype=0))  # L20_0
multiwatt_15_horizontal.add(gdstk.FlexPath([(11430,4064),(11430,5842)], 149.998, ends="flush", simple_path=True, layer=20, datatype=0))  # L20_0
multiwatt_15_horizontal.add(gdstk.FlexPath([(13970,4064),(13970,5842)], 149.998, ends="flush", simple_path=True, layer=20, datatype=0))  # L20_0
multiwatt_15_horizontal.add(gdstk.FlexPath([(16510,4064),(16510,5842)], 149.998, ends="flush", simple_path=True, layer=20, datatype=0))  # L20_0
multiwatt_15_horizontal.add(gdstk.FlexPath([(0,1524),(0,5842)], 149.998, ends="flush", simple_path=True, layer=20, datatype=0))  # L20_0
multiwatt_15_horizontal.add(gdstk.FlexPath([(2540,1524),(2540,5842)], 149.998, ends="flush", simple_path=True, layer=20, datatype=0))  # L20_0
multiwatt_15_horizontal.add(gdstk.FlexPath([(5080,1524),(5080,5842)], 149.998, ends="flush", simple_path=True, layer=20, datatype=0))  # L20_0
multiwatt_15_horizontal.add(gdstk.FlexPath([(7620,1524),(7620,5842)], 149.998, ends="flush", simple_path=True, layer=20, datatype=0))  # L20_0
multiwatt_15_horizontal.add(gdstk.FlexPath([(10160,1524),(10160,5842)], 149.998, ends="flush", simple_path=True, layer=20, datatype=0))  # L20_0
multiwatt_15_horizontal.add(gdstk.FlexPath([(12700,1524),(12700,5842)], 149.998, ends="flush", simple_path=True, layer=20, datatype=0))  # L20_0
multiwatt_15_horizontal.add(gdstk.FlexPath([(15240,1524),(15240,5842)], 149.998, ends="flush", simple_path=True, layer=20, datatype=0))  # L20_0
multiwatt_15_horizontal.add(gdstk.FlexPath([(17780,1524),(17780,5842)], 149.998, ends="flush", simple_path=True, layer=20, datatype=0))  # L20_0
multiwatt_15_horizontal.add(gdstk.FlexPath([(-930,5850),(-930,20760)], 149.998, ends="flush", simple_path=True, layer=20, datatype=0))  # L20_0
multiwatt_15_horizontal.add(gdstk.FlexPath([(18910,5850),(18910,20760)], 149.998, ends="flush", simple_path=True, layer=20, datatype=0))  # L20_0
multiwatt_15_horizontal.add(gdstk.FlexPath([(-930,16540),(18910,16540)], 149.998, ends="flush", simple_path=True, layer=20, datatype=0))  # L20_0
multiwatt_15_horizontal.add(gdstk.FlexPath([(18910,20750),(16290,23370)], 149.998, ends="flush", simple_path=True, layer=20, datatype=0))  # L20_0
multiwatt_15_horizontal.add(gdstk.FlexPath([(18910,5850),(-930,5850)], 149.998, ends="flush", simple_path=True, layer=20, datatype=0))  # L20_0
multiwatt_15_horizontal.add(gdstk.FlexPath([(19250,-1150),(19250,23700)], 50, ends="flush", simple_path=True, layer=9, datatype=0))  # L9_0
multiwatt_15_horizontal.add(gdstk.FlexPath([(-1250,-1150),(-1250,23700)], 50, ends="flush", simple_path=True, layer=9, datatype=0))  # L9_0
multiwatt_15_horizontal.add(gdstk.FlexPath([(-1250,23700),(19250,23700)], 50, ends="flush", simple_path=True, layer=9, datatype=0))  # L9_0
multiwatt_15_horizontal.add(gdstk.FlexPath([(-1250,-1150),(19250,-1150)], 50, ends="flush", simple_path=True, layer=9, datatype=0))  # L9_0
multiwatt_15_horizontal.add(gdstk.FlexPath([(16290,23370),(1670,23370)], 149.998, ends="flush", simple_path=True, layer=20, datatype=0))  # L20_0
multiwatt_15_horizontal.add(gdstk.FlexPath([(1670,23370),(-930,20760)], 149.998, ends="flush", simple_path=True, layer=20, datatype=0))  # L20_0
multiwatt_15_horizontal.add(gdstk.Label('TO_SOT_Packages_THT.3dshapes/Multiwatt_15_Horizontal.wrl', (0,0), layer=12, texttype=0))
multiwatt_15_horizontal.add(gdstk.Label('15', (17780,0), layer=28, texttype=0))
multiwatt_15_horizontal.add(gdstk.Label('14', (16510,2540), layer=28, texttype=0))
multiwatt_15_horizontal.add(gdstk.Label('13', (15240,0), layer=28, texttype=0))
multiwatt_15_horizontal.add(gdstk.Label('12', (13970,2540), layer=28, texttype=0))
multiwatt_15_horizontal.add(gdstk.Label('11', (12700,0), layer=28, texttype=0))
multiwatt_15_horizontal.add(gdstk.Label('10', (11430,2540), layer=28, texttype=0))
multiwatt_15_horizontal.add(gdstk.Label('9', (10160,0), layer=28, texttype=0))
multiwatt_15_horizontal.add(gdstk.Label('8', (8890,2540), layer=28, texttype=0))
multiwatt_15_horizontal.add(gdstk.Label('7', (7620,0), layer=28, texttype=0))
multiwatt_15_horizontal.add(gdstk.Label('6', (6350,2540), layer=28, texttype=0))
multiwatt_15_horizontal.add(gdstk.Label('5', (5080,0), layer=28, texttype=0))
multiwatt_15_horizontal.add(gdstk.Label('4', (3810,2540), layer=28, texttype=0))
multiwatt_15_horizontal.add(gdstk.Label('3', (2540,0), layer=28, texttype=0))
multiwatt_15_horizontal.add(gdstk.Label('2', (1270,2540), layer=28, texttype=0))
multiwatt_15_horizontal.add(gdstk.Label('1', (0,0), layer=28, texttype=0))
multiwatt_15_horizontal.add(gdstk.Label('type', (21336,3556), layer=9, texttype=0))
multiwatt_15_horizontal.add(gdstk.Label('devicename', (8636,24384), layer=9, texttype=0))

lib.write_gds('Multiwatt_15_Horizontal.gds')
